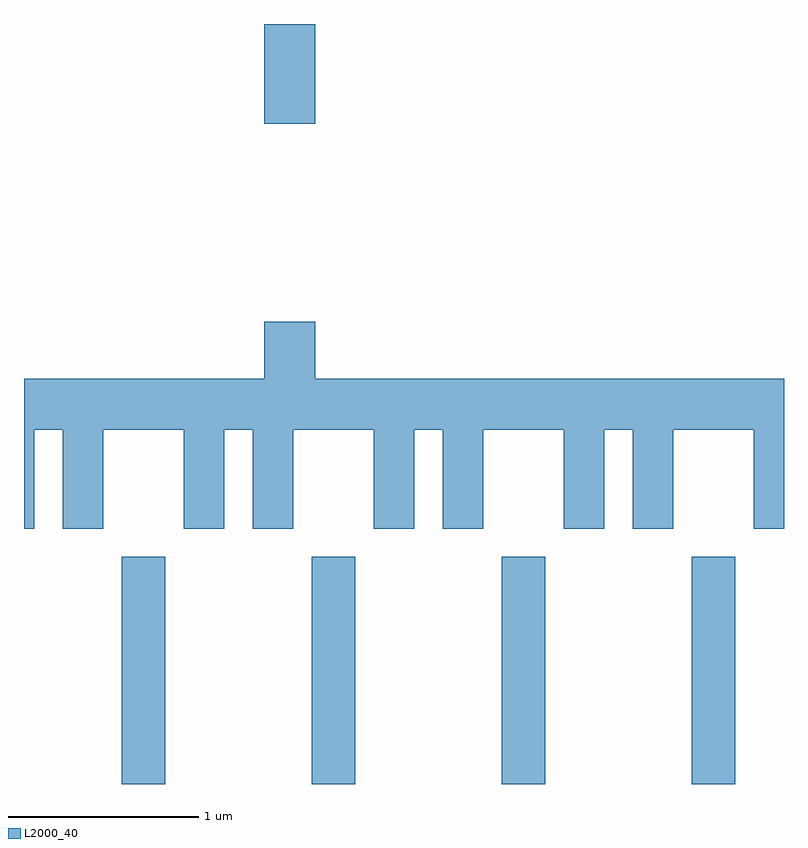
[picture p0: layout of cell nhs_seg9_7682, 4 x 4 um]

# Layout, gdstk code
import gdstk
lib = gdstk.Library(unit=1e-6, precision=1e-09)
def R(c, l, rs):  # rectangles x0, y0, x1, y1
    for r in rs: c.add(gdstk.rectangle(r[:2], r[2:], *l))
def A(c, l, x, y, w, h, nx, ny, dx, dy):  # array of equal rectangles
    R(c, l, [(x+i*dx, y+j*dy, x+i*dx+w, y+j*dy+h) for i in range(nx) for j in range(ny)])
def P(c, l, *ps):  # polygons
    for p in ps: c.add(gdstk.Polygon(p, *l))
L2000_40 = (2000, 40)

nhs_seg9_7682 = lib.new_cell('nhs_seg9_7682')
A(nhs_seg9_7682, L2000_40, 414.126, 1954.432, 0.228, 1.197, 4, 1, 1, 0)
R(nhs_seg9_7682, L2000_40, [(414.876,1957.906,415.144,1958.432)])
P(nhs_seg9_7682, L2000_40, [(415.144,1956.864),(414.876,1956.864),(414.876,1956.564),(413.611,1956.564),(413.611,1955.776),(413.664,1955.776),(413.664,1956.296),(413.816,1956.296),(413.816,1955.776),(414.029,1955.776),(414.029,1956.296),(414.451,1956.296),(414.451,1955.776),(414.664,1955.776),(414.664,1956.296),(414.816,1956.296),(414.816,1955.776),(415.029,1955.776),(415.029,1956.296),(415.451,1956.296),(415.451,1955.776),(415.664,1955.776),(415.664,1956.296),(415.816,1956.296),(415.816,1955.776),(416.029,1955.776),(416.029,1956.296),(416.451,1956.296),(416.451,1955.776),(416.664,1955.776),(416.664,1956.296),(416.816,1956.296),(416.816,1955.776),(417.029,1955.776),(417.029,1956.296),(417.451,1956.296),(417.451,1955.776),(417.611,1955.776),(417.611,1956.564),(415.144,1956.564)])

lib.write_gds('nhs_seg9_7682.gds')
